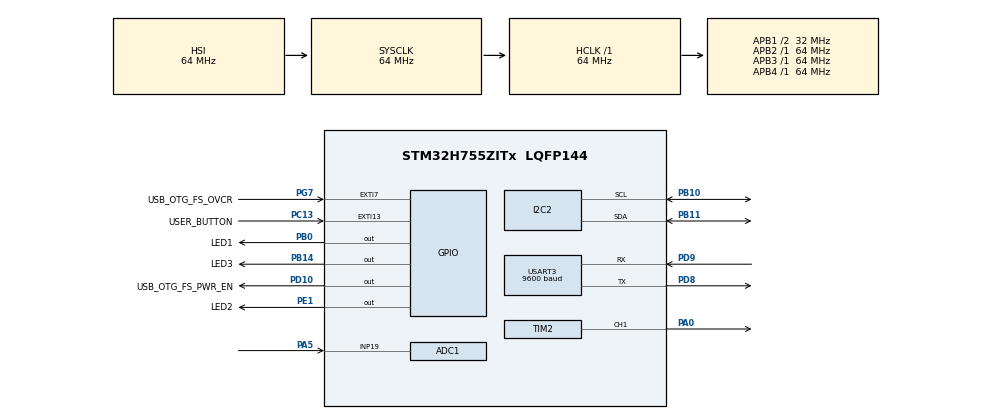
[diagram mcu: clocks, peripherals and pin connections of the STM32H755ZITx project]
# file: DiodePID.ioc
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ADC1.Channel-0\#ChannelRegularConversion=ADC_CHANNEL_19
ADC1.NbrOfConversionFlag=1
ADC1.OffsetNumber-0\#ChannelRegularConversion=ADC_OFFSET_NONE
ADC1.OffsetSignedSaturation-0\#ChannelRegularConversion=DISABLE
ADC1.Rank-0\#ChannelRegularConversion=1
ADC1.SamplingTime-0\#ChannelRegularConversion=ADC_SAMPLETIME_1CYCLE_5
ADC1.master=1
CortexM4.IPs=FATFS_M4\:I,FREERTOS_M4\:I,IWDG2\:I,RCC,WWDG2\:I,DMA,BDMA,MDMA,NVIC2\:I,ETH,USART3,DEBUG,PDM2PCM_M4\:I,PWR,RESMGR_UTILITY,SYS_M4\:I,USB_DEVICE_M4\:I,USB_HOST_M4\:I,CORTEX_M4\:I,GPIO,OPENAMP_M4\:I,VREFBUF,NUCLEO-H755ZI-Q
CortexM7.IPs=FATFS_M7\:I,FREERTOS_M7\:I,IWDG1\:I,RCC\:I,WWDG1\:I,DMA\:I,BDMA\:I,MDMA\:I,NVIC1\:I,ETH\:I,USART3\:I,USB_OTG_FS\:I,SYS\:I,CORTEX_M7\:I,DEBUG\:I,PDM2PCM_M7\:I,PWR\:I,RESMGR_UTILITY\:I,USB_DEVICE_M7\:I,USB_HOST_M7\:I,GPIO\:I,OPENAMP_M7\:I,VREFBUF\:I,NUCLEO-H755ZI-Q\:I,TIM2\:I,ADC1\:I,I2C2\:I
CortexM7.Pins=PC13,PB0,PB14,PE1
Dma.ADC1.0.Direction=DMA_PERIPH_TO_MEMORY
Dma.ADC1.0.EventEnable=DISABLE
Dma.ADC1.0.FIFOMode=DMA_FIFOMODE_DISABLE
Dma.ADC1.0.Instance=DMA1_Stream0
Dma.ADC1.0.MemDataAlignment=DMA_MDATAALIGN_HALFWORD
Dma.ADC1.0.MemInc=DMA_MINC_ENABLE
Dma.ADC1.0.Mode=DMA_CIRCULAR
Dma.ADC1.0.PeriphDataAlignment=DMA_PDATAALIGN_HALFWORD
Dma.ADC1.0.PeriphInc=DMA_PINC_DISABLE
Dma.ADC1.0.Polarity=HAL_DMAMUX_REQ_GEN_RISING
Dma.ADC1.0.Priority=DMA_PRIORITY_LOW
Dma.ADC1.0.RequestNumber=1
Dma.ADC1.0.SignalID=NONE
Dma.ADC1.0.SyncEnable=DISABLE
Dma.ADC1.0.SyncPolarity=HAL_DMAMUX_SYNC_NO_EVENT
Dma.ADC1.0.SyncRequestNumber=1
Dma.ADC1.0.SyncSignalID=NONE
Dma.Request0=ADC1
I2C2.Timing=0x00707CBB
Mcu.Family=STM32H7
Mcu.Name=STM32H755ZITx
Mcu.Package=LQFP144
NVIC1.DMA1_Stream0_IRQn=true\:0\:0\:false\:false\:true\:false\:true\:true
NVIC1.EXTI15_10_IRQn=true\:0\:0\:false\:false\:true\:true\:true\:true
NVIC1.PriorityGroup=NVIC_PRIORITYGROUP_4
NVIC1.USART3_IRQn=true\:0\:0\:false\:false\:true\:true\:true\:true
NVIC2.PriorityGroup=NVIC_PRIORITYGROUP_4
PA0.PinAttribute=CortexM7
PA0.Signal=S_TIM2_CH1_ETR
PA1.PinAttribute=CortexM7
PA1.Signal=ETH_REF_CLK
PA11.PinAttribute=CortexM7
PA11.Signal=USB_OTG_FS_DM
PA12.PinAttribute=CortexM7
PA12.Signal=USB_OTG_FS_DP
PA2.PinAttribute=CortexM7
PA2.Signal=ETH_MDIO
PA5.PinAttribute=CortexM7
PA5.Signal=ADCx_INP19
PA7.PinAttribute=CortexM7
PA7.Signal=ETH_CRS_DV
PA8.PinAttribute=CortexM7
PA8.Signal=USB_OTG_FS_SOF
PA9.PinAttribute=CortexM7
PA9.Signal=USB_OTG_FS_VBUS
PB0.GPIO_Label=LED1
PB0.PinAttribute=CortexM7
PB0.Signal=GPIO_Output
PB10.Mode=I2C
PB10.PinAttribute=CortexM7
PB10.Signal=I2C2_SCL
PB11.Mode=I2C
PB11.PinAttribute=CortexM7
PB11.Signal=I2C2_SDA
PB13.PinAttribute=CortexM7
PB13.Signal=ETH_TXD1
PB14.GPIO_Label=LED3
PB14.PinAttribute=CortexM7
PB14.Signal=GPIO_Output
PC1.PinAttribute=CortexM7
PC1.Signal=ETH_MDC
PC13.GPIO_Label=USER_BUTTON
PC13.PinAttribute=CortexM7
PC13.Signal=GPXTI13
PC14-OSC32_IN\ (OSC32_IN).PinAttribute=Free
PC14-OSC32_IN\ (OSC32_IN).Signal=RCC_OSC32_IN
PC15-OSC32_OUT\ (OSC32_OUT).PinAttribute=Free
PC15-OSC32_OUT\ (OSC32_OUT).Signal=RCC_OSC32_OUT
PC4.PinAttribute=CortexM7
PC4.Signal=ETH_RXD0
PC5.PinAttribute=CortexM7
PC5.Signal=ETH_RXD1
PD10.GPIO_Label=USB_OTG_FS_PWR_EN
PD10.PinAttribute=Free
PD10.Signal=GPIO_Output
PD8.Mode=Asynchronous
PD8.PinAttribute=CortexM7
PD8.Signal=USART3_TX
PD9.Mode=Asynchronous
PD9.PinAttribute=CortexM7
PD9.Signal=USART3_RX
PE1.GPIO_Label=LED2
PE1.PinAttribute=CortexM7
PE1.Signal=GPIO_Output
PG11.PinAttribute=CortexM7
PG11.Signal=ETH_TX_EN
PG13.PinAttribute=CortexM7
PG13.Signal=ETH_TXD0
PG7.GPIO_Label=USB_OTG_FS_OVCR
PG7.PinAttribute=Free
PG7.Signal=GPXTI7
PH0-OSC_IN\ (PH0).PinAttribute=Free
PH0-OSC_IN\ (PH0).Signal=RCC_OSC_IN
PH1-OSC_OUT\ (PH1).PinAttribute=Free
PH1-OSC_OUT\ (PH1).Signal=RCC_OSC_OUT
ProjectManager.HeapSize=M4-0x200,M7-0x200
ProjectManager.StackSize=M4-0x400,M7-0x400
ProjectManager.TargetToolchain=STM32CubeIDE
RCC.ADCFreq_Value=80000000
RCC.APB1Freq_Value=32000000
RCC.APB2Freq_Value=64000000
RCC.APB3Freq_Value=64000000
RCC.APB4Freq_Value=64000000
RCC.CortexFreq_Value=64000000
RCC.D2PPRE1=RCC_APB1_DIV2
RCC.DIVM1=5
RCC.DIVM2=4
RCC.DIVN1=48
RCC.DIVN2=10
RCC.DIVQ1=5
RCC.HCLKFreq_Value=64000000
RCC.PLL2FRACN=0
RCC.PLL3FRACN=0
RCC.PLLFRACN=0
RCC.SYSCLKFreq_VALUE=64000000
RCC.SupplySource=PWR_DIRECT_SMPS_SUPPLY
RCC.USBFreq_Value=122880000
SH.ADCx_INP19.0=ADC1_INP19,IN19-Single-Ended
SH.S_TIM2_CH1_ETR.0=TIM2_CH1,PWM Generation1 CH1
TIM2.Channel-PWM\ Generation1\ CH1=TIM_CHANNEL_1
TIM2.Period=999
TIM2.Prescaler=63
USART3.BaudRate=9600
USART3.VirtualMode-Asynchronous=VM_ASYNC
VP_SYS_M4_VS_Systick.Mode=SysTick
VP_TIM2_VS_ClockSourceINT.Mode=Internal
board=NUCLEO-H755ZI-Q

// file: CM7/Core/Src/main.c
/* USER CODE BEGIN Header */
/**
  ******************************************************************************
  * @file           : main.c
  * @brief          : Main program body
  ******************************************************************************
  * @attention
  *
  * Copyright (c) 2024 STMicroelectronics.
  * All rights reserved.
  *
  * This software is licensed under terms that can be found in the LICENSE file
  * in the root directory of this software component.
  * If no LICENSE file comes with this software, it is provided AS-IS.
  *
  ******************************************************************************
  */
/* USER CODE END Header */
#include "main.h"
#include "adc.h"
#include "dma.h"
#include "i2c.h"
#include "tim.h"
#include "usart.h"
#include "gpio.h"

/* USER CODE BEGIN Includes */
#include <stdbool.h>
#include <stdio.h>
#include <stdlib.h>
#include "lcd_i2c.h"
#include "string.h"
#include "eeprom.h"
#include "jsmn.h"

/* USER CODE END Includes */

/* USER CODE BEGIN PD */

#ifndef HSEM_ID_0
#define HSEM_ID_0 (0U) /* HW semaphore 0*/
#endif

/* USER CODE END PD */

/* USER CODE BEGIN PV */

//LCD struct for handling display data
struct lcd_disp disp;

// Variables that are changed during the process
// max_lux_value and min_lux_value are responsible for limiting the lux value reachable by the circuit
// set_value and pwm_width are describing the set value for pwm width or desired lux value.
// Dominating value is defined by "priority" variable.
uint16_t max_lux_value = 10000;
uint16_t min_lux_value = 0;
uint16_t set_value = 100;  // LUX
uint16_t pwm_width = 100;  // PERCENT

//Priority explaination
// 0 - Prioritize to change the pwm width to meet the "set_value" value
// 1 - Set the PWM width value, to read the lux value, set by defualt
volatile uint8_t priority = 1;

//Single click detection variable
volatile bool userButtonPressed = false;

// Buffer and variables needed for USART communication
uint8_t rx_buffer[50];
uint8_t rx_data;
uint8_t rx_index = 0;

/* USER CODE END PV */

void SystemClock_Config(void);

/* USER CODE BEGIN 0 */
/**
 * @brief Sends a debug message over UART. Can be used as a medium for communication
 * with other device. Allows sending strings or even a JSON.
 *
 * @param message The message string to send.
 */
void SendDebugMessage(const char* message) {
    HAL_UART_Transmit(&huart3, (uint8_t*)message, strlen(message), HAL_MAX_DELAY);
}

/**
 * @brief Sends an integer as a debug message.
 *
 * Converts an integer to a string and sends it using the SendDebugMessage function.
 *
 * @param value The integer value to send.
 */
void SendDebugInt(int value) {
    char buffer[20];
    snprintf(buffer, sizeof(buffer), "%d", value);
    SendDebugMessage(buffer);
}

/**
 * @brief Sends a float as a debug message.
 *
 * Converts a float to a string with two decimal precision and sends it using the SendDebugMessage function.
 *
 * @param value The float value to send.
 */
void SendDebugFloat(float value) {
    char buffer[20];
    snprintf(buffer, sizeof(buffer), "%.2f", value);
    SendDebugMessage(buffer);
}

/**
 * @brief UART receive complete callback.
 *
 * This function is called when a UART receive operation completes. It processes
 * incoming data character by character and triggers JSON parsing when a complete
 * JSON message is received.
 *
 * @param huart The UART handle.
 */
void HAL_UART_RxCpltCallback(UART_HandleTypeDef *huart) {
    if (rx_data != '}') {
        rx_buffer[rx_index++] = rx_data;
    } else {
        rx_buffer[rx_index++] = rx_data;
        rx_buffer[rx_index] = '\0';
        rx_index = 0;
        ParseJson((char*)rx_buffer);
    }
    HAL_UART_Receive_IT(&huart3, &rx_data, 1);
}

/**
 * @brief GPIO external interrupt callback.
 *
 * This function is triggered when an external interrupt is generated on a specific GPIO pin.
 * It detects user button presses and sets a flag.
 *
 * @param GPIO_Pin The pin number that triggered the interrupt.
 */
void HAL_GPIO_EXTI_Callback(uint16_t GPIO_Pin) {
	if (GPIO_Pin == USER_BUTTON_Pin) {
		userButtonPressed = true;
	}
}

/**
 * @brief Measures the light intensity in lux.
 *
 * This function starts an ADC conversion, calculates the voltage from the ADC value,
 * computes the resistance of the light sensor, and calculates the lux value using a formula.
 *
 * @return The calculated lux value as a float.
 */
float measureLux() {
	HAL_ADC_Start(&hadc1);
	HAL_ADC_PollForConversion(&hadc1,20);
	uint16_t v = HAL_ADC_GetValue(&hadc1);

	float voltage = 3.3 * v / 65535;
	float resistance = (( voltage)/(3.3 - voltage) * 4700);
	float lux = (10 * pow(8000, 1/0.6)) / pow(resistance, 1/0.6);
	return lux;
}

/**
 * @brief Compares a JSON key to a given string.
 *
 * This utility function checks if a JSON key matches a specified string.
 *
 * @param json The JSON string.
 * @param token The JSON token to compare.
 * @param s The string to compare against.
 *
 * @return 0 if the JSON key matches the string, 1 otherwise.
 */
int jsoneq(const char *json, jsmntok_t *token, const char *s) {
    if (token->type != JSMN_STRING) {
        return 1;
    }
    int token_length = token->end - token->start;
    return (strlen(s) == token_length) && (strncmp(json + token->start, s, token_length) == 0);
}

/**
 * @brief Parses a JSON string and processes specific keys.
 *
 * This function parses a JSON string using the JSMN library, identifies specific keys,
 * and updates corresponding variables based on their values.
 *
 * Recognized keys:
 * - "LED": Sets the LED state (integer).
 * - "PWM": Sets the PWM width (integer).
 * - "PRIORITY": Sets the priority level (integer).
 *
 * Sends a success message as a JSON response after processing.
 *
 * @param json The JSON string to parse.
 */
void ParseJson(const char* json) {
    jsmn_parser parser;
    jsmntok_t tokens[20];
    jsmn_init(&parser);

    int r = jsmn_parse(&parser, json, strlen(json), tokens, sizeof(tokens) / sizeof(tokens[0]));
    if (r < 0) { return; }

    for (int i = 1; i < r; i++) {
        if (tokens[i].type == JSMN_STRING) {
            char key[10];
            snprintf(key, sizeof(key), "%.*s", tokens[i].end - tokens[i].start, json + tokens[i].start);
            if (i + 1 < r) {
            	if (tokens[i + 1].type == JSMN_PRIMITIVE) {
            		char value[10];
					snprintf(value, sizeof(value), "%.*s", tokens[i + 1].end - tokens[i + 1].start, json + tokens[i + 1].start);
					char *endptr;
					int num_value = (int) strtol(value, &endptr, 10);
					if (strcmp(key, "LED") == 0) {
						if (*endptr == '\0') {
							set_value = num_value;
						}
					} else if (strcmp(key, "PWM") == 0) {
						if (*endptr == '\0' ) {
							pwm_width = num_value;
						}
					} else if (strcmp(key, "PRIORITY") == 0) {
						if (*endptr == '\0' ) {
							priority = num_value;
						}
					}
				}
            }
            i++;
        }
    }

	SendDebugMessage("{\"success\": 1, \"message\": \"Success!\"}");
}

// Variables required for PID controller
// prev_value is used to store the previous error value
int prev_value = 0;

// Controller settings, selected on the basis of the experiments
float kp = 1, ki = 0.3, kd = 0;

// Variable for storing data related to the integrating part of PID
float u_i = 0;

/**
 * @brief Saturates a value within a specified range.
 *
 * Ensures the input value remains within the range of 1 to 999.
 *
 * @param value The input value to be saturated.
 *
 * @return The saturated value within the range [1, 999].
 */
int saturate(uint16_t value) {
	if (value > 999) {
		value = 999;
	}
	if (value < 1) {
		value = 1;
	}
	return value;
}

/**
 * @brief Performs PID control calculation for light intensity adjustment.
 *
 * Computes the PID control output(PWM width) based on the current and desired lux values.
 * - Proportional term: Adjusts the output based on the current error.
 * - Integral term: Accumulates the error over time.
 * - Derivative term: Predicts the future trend of the error.
 *
 * The computed output is then saturated to ensure it remains within valid bounds.
 *
 * @param current_lux The current measured lux value.
 * @param set_lux_value The desired lux value to achieve.
 *
 * @return The PID control output value, saturated within the range [1, 999].
 */
uint16_t PID_calc(uint16_t current_lux, uint16_t set_lux_value) {
    int e = set_lux_value - current_lux;
    float u_k = kp * (float)e;
    u_i = u_i + (int)(ki * (float)e);
    float u_d = kd * ((float)(e - prev_value) / 2.0);
    int u_pid = (int)(u_k + u_i + u_d);
    prev_value = e;
    return saturate(u_pid);
}

/* USER CODE END 0 */

int main(void)
{

/* USER CODE BEGIN Boot_Mode_Sequence_0 */
  int32_t timeout;
/* USER CODE END Boot_Mode_Sequence_0 */

/* USER CODE BEGIN Boot_Mode_Sequence_1 */
  /* Wait until CPU2 boots and enters in stop mode or timeout*/
  timeout = 0xFFFF;
  while((__HAL_RCC_GET_FLAG(RCC_FLAG_D2CKRDY) != RESET) && (timeout-- > 0));
  if ( timeout < 0 )
  {
  Error_Handler();
  }
/* USER CODE END Boot_Mode_Sequence_1 */
  /* MCU Configuration--------------------------------------------------------*/

  /* Reset of all peripherals, Initializes the Flash interface and the Systick. */
  HAL_Init();

  /* Configure the system clock */
  SystemClock_Config();
/* USER CODE BEGIN Boot_Mode_Sequence_2 */
/* When system initialization is finished, Cortex-M7 will release Cortex-M4 by means of
HSEM notification */
/*HW semaphore Clock enable*/
__HAL_RCC_HSEM_CLK_ENABLE();
/*Take HSEM */
HAL_HSEM_FastTake(HSEM_ID_0);
/*Release HSEM in order to notify the CPU2(CM4)*/
HAL_HSEM_Release(HSEM_ID_0,0);
/* wait until CPU2 wakes up from stop mode */
timeout = 0xFFFF;
while((__HAL_RCC_GET_FLAG(RCC_FLAG_D2CKRDY) == RESET) && (timeout-- > 0));
if ( timeout < 0 )
{
Error_Handler();
}
/* USER CODE END Boot_Mode_Sequence_2 */

  /* Initialize all configured peripherals */
  MX_GPIO_Init();
  MX_DMA_Init();
  MX_ADC1_Init();
  MX_TIM2_Init();
  MX_USART3_UART_Init();
  MX_I2C2_Init();
  /* USER CODE BEGIN 2 */
  //LCD initialization
	disp.addr = (0x27 << 1);
	disp.bl = true;
	lcd_init(&disp);

  /* USER CODE END 2 */

  /* Infinite loop */
  /* USER CODE BEGIN WHILE */
	//Starting the required services
	TIM2->CCR1 = 100;
	HAL_TIM_PWM_Start_IT(&htim2, TIM_CHANNEL_1);
	HAL_UART_Receive_IT(&huart3, &rx_data, 3);
	//Sending single informative command
	char buffer[100];
	ParseJson("{\"LED\": 100, \"PWM\": 100, \"PRIORITY\": 1}\r\n");
  while (1)
  {
	// Measure lux in the area
	float lux = measureLux();

	//LCD handler
	sprintf((char *)disp.f_line, "Current: %.2f", lux);
	sprintf((char *)disp.s_line, "Set value: %d", set_value);
	lcd_display(&disp);

	// Change PWM width with respect to the priority
	// 0 - Prioritize to change the pwm width to meet the "set_value" value - Yes, PID
	// 1 - Set the PWM width value, to read the lux value, set by defualt
	if (priority == 1) {
		__HAL_TIM_SET_COMPARE(&htim2, TIM_CHANNEL_1, pwm_width);
	} else {
		uint16_t counter = PID_calc(lux, set_value);
		__HAL_TIM_SET_COMPARE(&htim2, TIM_CHANNEL_1, counter);
	}

	//Sending current data to desktop app for visualization
	char buffer[100];
	snprintf(buffer, sizeof(buffer), "{\"operation\": \"data\", \"data\": %.2f}\r\n", lux);
	SendDebugMessage(buffer);

	HAL_Delay(500);

	// User Button click handler
	// This function is called once after clicking the button, and performs
	// the configuration while stopping all other things and then resuming after it's done
	if (userButtonPressed) {
		userButtonPressed = false;
		uint32_t backup_value = __HAL_TIM_GET_COMPARE(&htim2, TIM_CHANNEL_1);
		//Measuring lowest and highest possible lux value at output
		__HAL_TIM_SET_COMPARE(&htim2, TIM_CHANNEL_1, 0);
		HAL_Delay(500);
		uint16_t low_lux = measureLux();
		__HAL_TIM_SET_COMPARE(&htim2, TIM_CHANNEL_1, 999);
		HAL_Delay(500);
		uint16_t high_lux = measureLux();

		//YES I COULD HAVE CHANGED THE VALUES OF HIGH AND LOW LUX HERE

		// Writing the acquired data to EEPROM
		uint16_t measures[2] = {low_lux, high_lux};
		if (EEPROM_WriteIntArray(0x0000, measures, sizeof(measures)) == HAL_OK) {
			SendDebugMessage("{\"operation\": \"write\", \"message\": \"success\"}\r\n");
		} else {
			SendDebugMessage("{\"message\": \"failure\"}\r\n");
		}
		HAL_Delay(10);

		//Reading the data from EEPROM
		uint16_t readMeasurements[2] = {0,0};
		if (EEPROM_ReadIntArray(0x0000, &readMeasurements, sizeof(readMeasurements)) == HAL_OK) {
			char buffer[100];
			snprintf(buffer, sizeof(buffer), "{\"operation\": \"read\", \"message\": \"success\", \"low_lux\": %d, \"high_lux\": %d}\r\n", low_lux, high_lux);
			// HERE WE READ THE MIN AND MAX VALUE FOR LED C:
			min_lux_value = readMeasurements[0];
			max_lux_value = readMeasurements[1];
			SendDebugMessage(buffer);
		} else {
			SendDebugMessage("{\"operation\": \"read\", \"message\": \"failure\"}\r\n");
		}
		//Restoring the previous value
		__HAL_TIM_SET_COMPARE(&htim2, TIM_CHANNEL_1, backup_value);
		HAL_Delay(300);

	}
    /* USER CODE END WHILE */

  }
}

void SystemClock_Config(void)
{
  RCC_OscInitTypeDef RCC_OscInitStruct = {0};
  RCC_ClkInitTypeDef RCC_ClkInitStruct = {0};

  /** Supply configuration update enable
  */
  HAL_PWREx_ConfigSupply(PWR_DIRECT_SMPS_SUPPLY);

  /** Configure the main internal regulator output voltage
  */
  __HAL_PWR_VOLTAGESCALING_CONFIG(PWR_REGULATOR_VOLTAGE_SCALE3);

  while(!__HAL_PWR_GET_FLAG(PWR_FLAG_VOSRDY)) {}

  /** Macro to configure the PLL clock source
  */
  __HAL_RCC_PLL_PLLSOURCE_CONFIG(RCC_PLLSOURCE_HSI);

  /** Initializes the RCC Oscillators according to the specified parameters
  * in the RCC_OscInitTypeDef structure.
  */
  RCC_OscInitStruct.OscillatorType = RCC_OSCILLATORTYPE_HSI;
  RCC_OscInitStruct.HSIState = RCC_HSI_DIV1;
  RCC_OscInitStruct.HSICalibrationValue = RCC_HSICALIBRATION_DEFAULT;
  RCC_OscInitStruct.PLL.PLLState = RCC_PLL_NONE;
  if (HAL_RCC_OscConfig(&RCC_OscInitStruct) != HAL_OK)
  {
    Error_Handler();
  }

  /** Initializes the CPU, AHB and APB buses clocks
  */
  RCC_ClkInitStruct.ClockType = RCC_CLOCKTYPE_HCLK|RCC_CLOCKTYPE_SYSCLK
                              |RCC_CLOCKTYPE_PCLK1|RCC_CLOCKTYPE_PCLK2
                              |RCC_CLOCKTYPE_D3PCLK1|RCC_CLOCKTYPE_D1PCLK1;
  RCC_ClkInitStruct.SYSCLKSource = RCC_SYSCLKSOURCE_HSI;
  RCC_ClkInitStruct.SYSCLKDivider = RCC_SYSCLK_DIV1;
  RCC_ClkInitStruct.AHBCLKDivider = RCC_HCLK_DIV1;
  RCC_ClkInitStruct.APB3CLKDivider = RCC_APB3_DIV1;
  RCC_ClkInitStruct.APB1CLKDivider = RCC_APB1_DIV2;
  RCC_ClkInitStruct.APB2CLKDivider = RCC_APB2_DIV1;
  RCC_ClkInitStruct.APB4CLKDivider = RCC_APB4_DIV1;

  if (HAL_RCC_ClockConfig(&RCC_ClkInitStruct, FLASH_LATENCY_1) != HAL_OK)
  {
    Error_Handler();
  }
}

void Error_Handler(void)
{
  __disable_irq();
  while (1)
  {
  }
}
